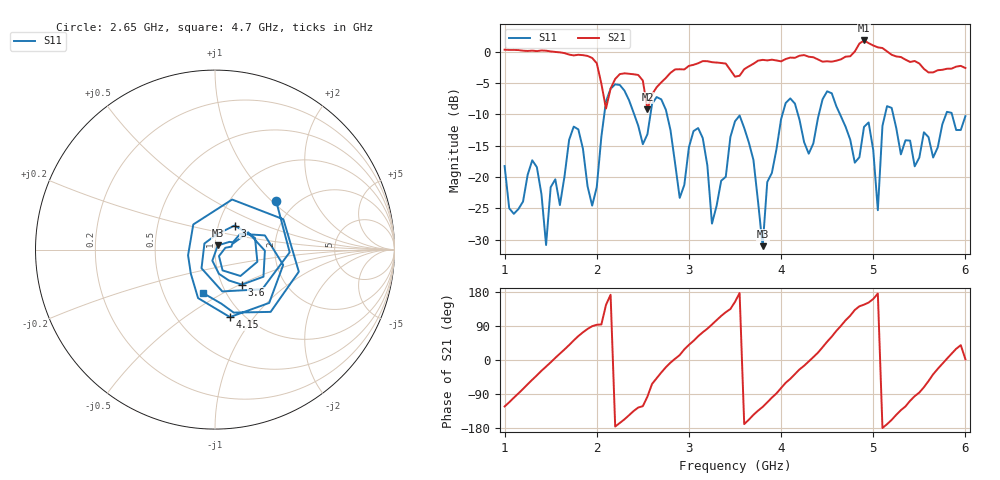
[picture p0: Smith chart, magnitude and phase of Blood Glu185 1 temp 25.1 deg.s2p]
! NanoVNA-App
! Date: 2024-03-21 15:57:26
! Start: 1GHz Stop: 6GHz Points: 101
! S-Parameter data: F S11 S21 S12 S22
# Hz S RI R 50
!	Frequency	S11_Real	S11_Imag	S21_Real	S21_Imag	S12_Real	S12_Imag	S22_Real	S22_Imag
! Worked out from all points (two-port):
!   101 points, 1 GHz to 6 GHz, reference 50 ohm
!   highest |S21| = 1.80 dB at 4.9 GHz (marker M1); lowest = -9.2 dB at 2.55 GHz (marker M2)
!   |S21| within 3 dB of the highest: start of sweep to 1.962 GHz; 4.652 GHz to 5.343 GHz (690.7 MHz wide, 13.8 % of centre)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
!   lowest |S11| = -31.1 dB at 3.8 GHz (marker M3), VSWR 1.06, Z = 51.5 + j2.4 ohm
!   |S11| at or under -10 dB: start of sweep to 2.082 GHz; 2.761 GHz to 4.015 GHz (1.254 GHz wide, 37 % of centre); 5.216 GHz to 5.79 GHz (574.2 MHz wide, 10.4 % of centre)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
!   S12 and S22 are empty: the file has one direction only
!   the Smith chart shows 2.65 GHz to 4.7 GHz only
!   S11 on the Smith chart (normalised r, x): 2.65 GHz: 1.60, +1.06; 3 GHz: 1.20, +0.33; 3.6 GHz: 1.24, -0.51; 4.15 GHz: 0.87, -0.77; 4.7 GHz: 0.79, -0.41
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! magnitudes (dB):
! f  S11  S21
! 1 GHz  -18.3  0.3
! 1.35 GHz  -18.4  0.1
! 1.45 GHz  -30.9  0.2
! 1.85 GHz  -15.5  -0.5
! 1.95 GHz  -24.6  -1.0
! 2.15 GHz  -5.9  -5.9
! 2.55 GHz  -13.2  -9.2
! 2.65 GHz  -7.2  -5.7
! 2.7 GHz  -7.6  -4.9
! 2.9 GHz  -23.3  -2.8
! 3 GHz  -15.3  -2.3
! 3.25 GHz  -27.5  -1.7
! 3.5 GHz  -11.1  -4.0
! 3.6 GHz  -12.2  -2.8
! 3.8 GHz  -31.1  -1.3
! 4.15 GHz  -8.3  -1.0
! 4.35 GHz  -14.7  -0.9
! 4.7 GHz  -12.0  -0.8
! 4.9 GHz  -12.0  1.8
! 5.05 GHz  -25.3  0.7
! 5.2 GHz  -9.0  -0.5
! 6 GHz  -10.3  -2.6
